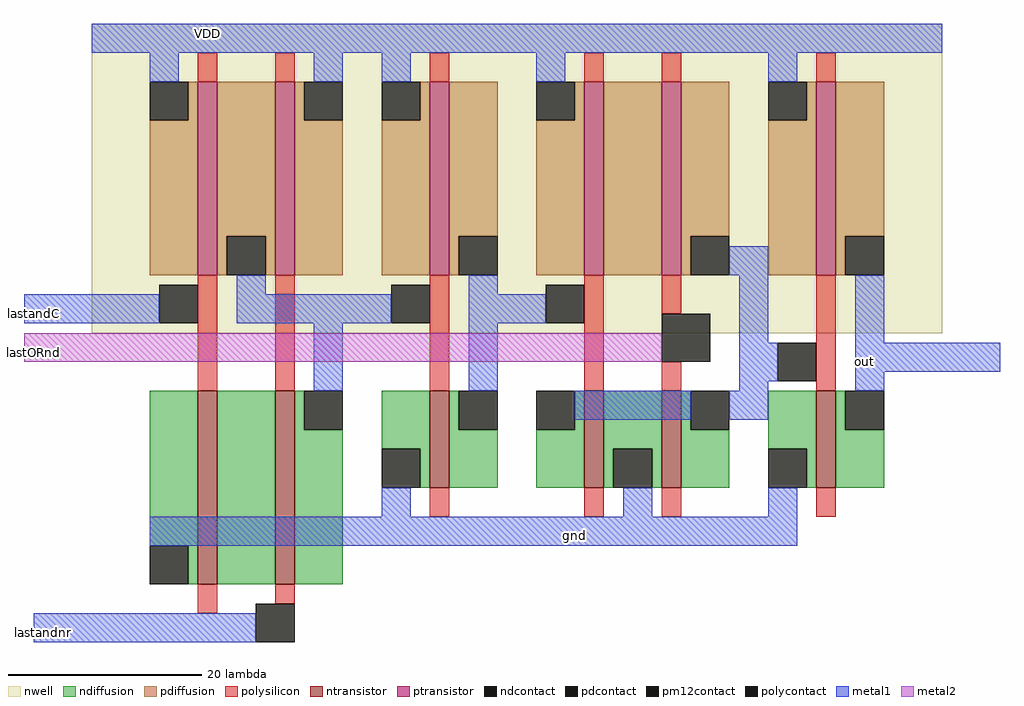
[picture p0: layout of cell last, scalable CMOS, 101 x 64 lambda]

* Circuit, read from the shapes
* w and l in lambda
.subckt last VDD gnd lastORnd lastandC lastandnr out
M1 n1 lastandC gnd VSUBS nfet w=20 l=2
M2 n2 lastandnr n1 VSUBS nfet w=20 l=2
M3 n3 n2 gnd VSUBS nfet w=10 l=2
M4 gnd n3 n4 VSUBS nfet w=10 l=2
M5 n4 lastORnd gnd VSUBS nfet w=10 l=2
M6 out n4 gnd VSUBS nfet w=10 l=2
M7 n2 lastandC VDD n5 pfet w=20 l=2
M8 VDD lastandnr n2 n5 pfet w=20 l=2
M9 n3 n2 VDD n5 pfet w=20 l=2
M10 n6 n3 VDD n5 pfet w=20 l=2
M11 n4 lastORnd n6 n5 pfet w=20 l=2
M12 out n4 VDD n5 pfet w=20 l=2
.ends

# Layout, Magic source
magic
tech scmos
<< nwell >>
rect -152 -77 -64 -45
<< ntransistor >>
rect -141 -103 -139 -83
rect -133 -103 -131 -83
rect -117 -93 -115 -83
rect -101 -93 -99 -83
rect -93 -93 -91 -83
rect -77 -93 -75 -83
<< ptransistor >>
rect -141 -71 -139 -51
rect -133 -71 -131 -51
rect -117 -71 -115 -51
rect -101 -71 -99 -51
rect -93 -71 -91 -51
rect -77 -71 -75 -51
<< ndiffusion >>
rect -146 -99 -141 -83
rect -142 -103 -141 -99
rect -139 -103 -133 -83
rect -131 -87 -130 -83
rect -131 -103 -126 -87
rect -122 -89 -117 -83
rect -118 -93 -117 -89
rect -115 -87 -114 -83
rect -115 -93 -110 -87
rect -102 -87 -101 -83
rect -106 -93 -101 -87
rect -99 -89 -93 -83
rect -99 -93 -98 -89
rect -94 -93 -93 -89
rect -91 -87 -90 -83
rect -91 -93 -86 -87
rect -82 -89 -77 -83
rect -78 -93 -77 -89
rect -75 -87 -74 -83
rect -75 -93 -70 -87
<< pdiffusion >>
rect -142 -55 -141 -51
rect -146 -71 -141 -55
rect -139 -67 -133 -51
rect -139 -71 -138 -67
rect -134 -71 -133 -67
rect -131 -55 -130 -51
rect -131 -71 -126 -55
rect -118 -55 -117 -51
rect -122 -71 -117 -55
rect -115 -67 -110 -51
rect -115 -71 -114 -67
rect -102 -55 -101 -51
rect -106 -71 -101 -55
rect -99 -71 -93 -51
rect -91 -67 -86 -51
rect -91 -71 -90 -67
rect -78 -55 -77 -51
rect -82 -71 -77 -55
rect -75 -67 -70 -51
rect -75 -71 -74 -67
<< ndcontact >>
rect -146 -103 -142 -99
rect -130 -87 -126 -83
rect -122 -93 -118 -89
rect -114 -87 -110 -83
rect -106 -87 -102 -83
rect -98 -93 -94 -89
rect -90 -87 -86 -83
rect -82 -93 -78 -89
rect -74 -87 -70 -83
<< pdcontact >>
rect -146 -55 -142 -51
rect -138 -71 -134 -67
rect -130 -55 -126 -51
rect -122 -55 -118 -51
rect -114 -71 -110 -67
rect -106 -55 -102 -51
rect -90 -71 -86 -67
rect -82 -55 -78 -51
rect -74 -71 -70 -67
<< polysilicon >>
rect -141 -51 -139 -48
rect -133 -51 -131 -48
rect -117 -51 -115 -48
rect -101 -51 -99 -48
rect -93 -51 -91 -48
rect -77 -51 -75 -48
rect -141 -83 -139 -71
rect -133 -83 -131 -71
rect -117 -83 -115 -71
rect -101 -83 -99 -71
rect -93 -75 -91 -71
rect -93 -83 -91 -80
rect -77 -83 -75 -71
rect -117 -96 -115 -93
rect -101 -96 -99 -93
rect -93 -96 -91 -93
rect -77 -96 -75 -93
rect -141 -106 -139 -103
rect -133 -105 -131 -103
<< polycontact >>
rect -145 -76 -141 -72
rect -121 -76 -117 -72
rect -105 -76 -101 -72
rect -81 -82 -77 -78
rect -135 -109 -131 -105
<< metal1 >>
rect -152 -48 -64 -45
rect -146 -51 -143 -48
rect -129 -51 -126 -48
rect -122 -51 -119 -48
rect -106 -51 -103 -48
rect -82 -51 -79 -48
rect -86 -71 -82 -68
rect -159 -76 -145 -73
rect -137 -73 -134 -71
rect -137 -76 -121 -73
rect -113 -73 -110 -71
rect -113 -76 -105 -73
rect -129 -83 -126 -76
rect -113 -83 -110 -76
rect -85 -78 -82 -71
rect -73 -78 -70 -71
rect -85 -82 -81 -78
rect -73 -81 -58 -78
rect -85 -83 -82 -82
rect -73 -83 -70 -81
rect -102 -86 -90 -83
rect -86 -86 -82 -83
rect -122 -96 -119 -93
rect -97 -96 -94 -93
rect -82 -96 -79 -93
rect -146 -99 -79 -96
rect -158 -109 -135 -106
<< pm12contact >>
rect -93 -80 -88 -75
<< metal2 >>
rect -159 -80 -93 -77
<< labels >>
rlabel metal1 -140 -46 -140 -46 5 VDD
rlabel metal1 -102 -98 -102 -98 1 gnd
rlabel metal1 -72 -80 -72 -80 1 out
rlabel metal1 -158 -75 -158 -75 1 lastandC
rlabel metal1 -157 -108 -157 -108 1 lastandnr
rlabel metal2 -158 -79 -158 -79 1 lastORnd
<< end >>
